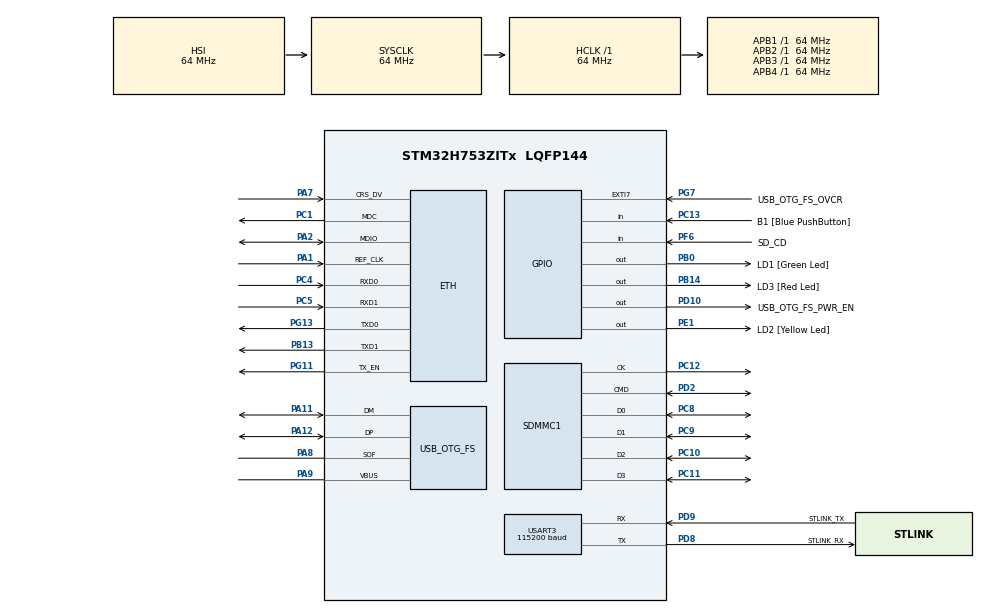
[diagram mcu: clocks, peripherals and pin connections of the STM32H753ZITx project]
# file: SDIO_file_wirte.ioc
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CORTEX_M7.CPU_DCache=Disabled
CORTEX_M7.CPU_ICache=Disabled
CORTEX_M7.MPU_Control=__NULL
ETH.ETH_RX_DESC_CNT=4
ETH.ETH_TX_DESC_CNT=4
ETH.MACAddr=00\:80\:E1\:00\:00\:00
ETH.MediaInterface=HAL_ETH_RMII_MODE
ETH.RxBuffAddress=0x30040200
ETH.RxBuffLen=1524
ETH.RxDescAddress=0x30040000
ETH.TxDescAddress=0x30040060
FATFS.BSP.number=1
FATFS.USE_DMA_CODE_SD=0
FATFS0.BSP.STBoard=false
FATFS0.BSP.api=Unknown
FATFS0.BSP.instance=PF6
FATFS0.BSP.ip=GPIO
FATFS0.BSP.mode=Input
FATFS0.BSP.name=Detect_SDIO
FATFS0.BSP.solution=PF6
Mcu.Family=STM32H7
Mcu.Name=STM32H753ZITx
Mcu.Package=LQFP144
NVIC.PriorityGroup=NVIC_PRIORITYGROUP_4
PA1.Mode=RMII
PA1.Signal=ETH_REF_CLK
PA11.Mode=Device_Only
PA11.Signal=USB_OTG_FS_DM
PA12.Mode=Device_Only
PA12.Signal=USB_OTG_FS_DP
PA2.Mode=RMII
PA2.Signal=ETH_MDIO
PA7.Mode=RMII
PA7.Signal=ETH_CRS_DV
PA8.Mode=Activate_SOF_FS
PA8.Signal=USB_OTG_FS_SOF
PA9.Mode=Activate_VBUS
PA9.Signal=USB_OTG_FS_VBUS
PB0.GPIO_Label=LD1 [Green Led]
PB0.Signal=GPIO_Output
PB13.Mode=RMII
PB13.Signal=ETH_TXD1
PB14.GPIO_Label=LD3 [Red Led]
PB14.Signal=GPIO_Output
PC1.Mode=RMII
PC1.Signal=ETH_MDC
PC10.Mode=SD_4_bits_Wide_bus
PC10.Signal=SDMMC1_D2
PC11.Mode=SD_4_bits_Wide_bus
PC11.Signal=SDMMC1_D3
PC12.Mode=SD_4_bits_Wide_bus
PC12.Signal=SDMMC1_CK
PC13.GPIO_Label=B1 [Blue PushButton]
PC13.Signal=GPIO_Input
PC14-OSC32_IN\ (OSC32_IN).Mode=LSE-External-Oscillator
PC14-OSC32_IN\ (OSC32_IN).Signal=RCC_OSC32_IN
PC15-OSC32_OUT\ (OSC32_OUT).Mode=LSE-External-Oscillator
PC15-OSC32_OUT\ (OSC32_OUT).Signal=RCC_OSC32_OUT
PC4.Mode=RMII
PC4.Signal=ETH_RXD0
PC5.Mode=RMII
PC5.Signal=ETH_RXD1
PC8.Mode=SD_4_bits_Wide_bus
PC8.Signal=SDMMC1_D0
PC9.Mode=SD_4_bits_Wide_bus
PC9.Signal=SDMMC1_D1
PD10.GPIO_Label=USB_OTG_FS_PWR_EN
PD10.Signal=GPIO_Output
PD2.Mode=SD_4_bits_Wide_bus
PD2.Signal=SDMMC1_CMD
PD8.GPIO_Label=STLINK_RX
PD8.Mode=Asynchronous
PD8.Signal=USART3_TX
PD9.GPIO_Label=STLINK_TX
PD9.Mode=Asynchronous
PD9.Signal=USART3_RX
PE1.GPIO_Label=LD2 [Yellow Led]
PE1.Signal=GPIO_Output
PF6.GPIO_Label=SD_CD
PF6.Signal=GPIO_Input
PG11.Mode=RMII
PG11.Signal=ETH_TX_EN
PG13.Mode=RMII
PG13.Signal=ETH_TXD0
PG7.GPIO_Label=USB_OTG_FS_OVCR
PG7.Signal=GPXTI7
PH0-OSC_IN\ (PH0).Mode=HSE-External-Clock-Source
PH0-OSC_IN\ (PH0).Signal=RCC_OSC_IN
PH1-OSC_OUT\ (PH1).Signal=RCC_OSC_OUT
ProjectManager.HeapSize=0x200
ProjectManager.StackSize=0x400
ProjectManager.TargetToolchain=STM32CubeIDE
RCC.ADCFreq_Value=16125000
RCC.APB1Freq_Value=64000000
RCC.APB2Freq_Value=64000000
RCC.APB3Freq_Value=64000000
RCC.APB4Freq_Value=64000000
RCC.CortexFreq_Value=64000000
RCC.DIVM1=1
RCC.DIVN1=24
RCC.DIVQ1=4
RCC.HCLKFreq_Value=64000000
RCC.HSE_VALUE=8000000
RCC.PLLFRACN=0
RCC.PWR_Regulator_Voltage_Scale=PWR_REGULATOR_VOLTAGE_SCALE2
RCC.SYSCLKFreq_VALUE=64000000
RCC.USBFreq_Value=48000000
USART3.AutoBaudRateEnableParam=UART_ADVFEATURE_AUTOBAUDRATE_DISABLE
USART3.BaudRate=115200
USART3.ClockPrescaler=PRESCALER_DIV1
USART3.DMADisableonRxErrorParam=ADVFEATURE_DMA_ENABLEONRXERROR
USART3.DataInvertParam=ADVFEATURE_DATAINV_DISABLE
USART3.FIFOMode=FIFOMODE_DISABLE
USART3.MSBFirstParam=ADVFEATURE_MSBFIRST_DISABLE
USART3.Mode=MODE_TX_RX
USART3.OneBitSampling=UART_ONE_BIT_SAMPLE_DISABLE
USART3.OverSampling=UART_OVERSAMPLING_16
USART3.OverrunDisableParam=ADVFEATURE_OVERRUN_ENABLE
USART3.Parity=PARITY_NONE
USART3.RXFIFOThreshold=RXFIFO_THRESHOLD_1EIGHTHFULL
USART3.RxPinLevelInvertParam=ADVFEATURE_RXINV_DISABLE
USART3.StopBits=STOPBITS_1
USART3.SwapParam=ADVFEATURE_SWAP_DISABLE
USART3.TXFIFOThreshold=TXFIFO_THRESHOLD_1EIGHTHFULL
USART3.TxPinLevelInvertParam=ADVFEATURE_TXINV_DISABLE
USART3.VirtualMode-Asynchronous=VM_ASYNC
USART3.WordLength=WORDLENGTH_8B
USB_OTG_FS.Sof_enable=ENABLE
USB_OTG_FS.VirtualMode=Device_Only
USB_OTG_FS.battery_charging_enable=ENABLE
USB_OTG_FS.low_power_enable=DISABLE
USB_OTG_FS.lpm_enable=DISABLE
USB_OTG_FS.use_dedicated_ep1=DISABLE
USB_OTG_FS.vbus_sensing_enable=ENABLE
VP_FATFS_VS_SDIO.Mode=SDIO
VP_MEMORYMAP_VS_MEMORYMAP.Mode=CurAppReg
board=NUCLEO-H753ZI

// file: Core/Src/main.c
/* USER CODE BEGIN Header */
/**
 ******************************************************************************
 * @file           : main.c
 * @brief          : Main program body
 ******************************************************************************
 * @attention
 *
 * Copyright (c) 2024 STMicroelectronics.
 * All rights reserved.
 *
 * This software is licensed under terms that can be found in the LICENSE file
 * in the root directory of this software component.
 * If no LICENSE file comes with this software, it is provided AS-IS.
 *
 ******************************************************************************
 */
/* USER CODE END Header */
#include "main.h"
#include "string.h"
#include "fatfs.h"

#if defined ( __ICCARM__ ) /*!< IAR Compiler */
#pragma location=0x30040000
ETH_DMADescTypeDef  DMARxDscrTab[ETH_RX_DESC_CNT]; /* Ethernet Rx DMA Descriptors */
#pragma location=0x30040060
ETH_DMADescTypeDef  DMATxDscrTab[ETH_TX_DESC_CNT]; /* Ethernet Tx DMA Descriptors */

#elif defined ( __CC_ARM )  /* MDK ARM Compiler */

__attribute__((at(0x30040000))) ETH_DMADescTypeDef  DMARxDscrTab[ETH_RX_DESC_CNT]; /* Ethernet Rx DMA Descriptors */
__attribute__((at(0x30040060))) ETH_DMADescTypeDef  DMATxDscrTab[ETH_TX_DESC_CNT]; /* Ethernet Tx DMA Descriptors */

#elif defined ( __GNUC__ ) /* GNU Compiler */

ETH_DMADescTypeDef DMARxDscrTab[ETH_RX_DESC_CNT] __attribute__((section(".RxDecripSection"))); /* Ethernet Rx DMA Descriptors */
ETH_DMADescTypeDef DMATxDscrTab[ETH_TX_DESC_CNT] __attribute__((section(".TxDecripSection"))); /* Ethernet Tx DMA Descriptors */
#endif

ETH_TxPacketConfig TxConfig;

ETH_HandleTypeDef heth;

SD_HandleTypeDef hsd1;

UART_HandleTypeDef huart3;

PCD_HandleTypeDef hpcd_USB_OTG_FS;

void SystemClock_Config(void);
static void MX_GPIO_Init(void);
static void MX_ETH_Init(void);
static void MX_SDMMC1_SD_Init(void);
static void MX_USART3_UART_Init(void);
static void MX_USB_OTG_FS_PCD_Init(void);
/* USER CODE BEGIN PFP */
static void write_test(void);
/* USER CODE END PFP */

int main(void) {

	/* MCU Configuration--------------------------------------------------------*/

	/* Reset of all peripherals, Initializes the Flash interface and the Systick. */
	HAL_Init();

	/* Configure the system clock */
	SystemClock_Config();

	/* Initialize all configured peripherals */
	MX_GPIO_Init();
	MX_ETH_Init();
	MX_SDMMC1_SD_Init();
	MX_USART3_UART_Init();
	MX_USB_OTG_FS_PCD_Init();
	MX_FATFS_Init();
	/* USER CODE BEGIN 2 */
	write_test();
	/* USER CODE END 2 */

	/* Infinite loop */
	while (1) {

	}
}

void SystemClock_Config(void) {
	RCC_OscInitTypeDef RCC_OscInitStruct = { 0 };
	RCC_ClkInitTypeDef RCC_ClkInitStruct = { 0 };

	/** Supply configuration update enable
	 */
	HAL_PWREx_ConfigSupply(PWR_LDO_SUPPLY);

	/** Configure the main internal regulator output voltage
	 */
	__HAL_PWR_VOLTAGESCALING_CONFIG(PWR_REGULATOR_VOLTAGE_SCALE2);

	while (!__HAL_PWR_GET_FLAG(PWR_FLAG_VOSRDY)) {
	}

	/** Initializes the RCC Oscillators according to the specified parameters
	 * in the RCC_OscInitTypeDef structure.
	 */
	RCC_OscInitStruct.OscillatorType = RCC_OSCILLATORTYPE_HSI
			| RCC_OSCILLATORTYPE_HSE;
	RCC_OscInitStruct.HSEState = RCC_HSE_BYPASS;
	RCC_OscInitStruct.HSIState = RCC_HSI_DIV1;
	RCC_OscInitStruct.HSICalibrationValue = RCC_HSICALIBRATION_DEFAULT;
	RCC_OscInitStruct.PLL.PLLState = RCC_PLL_ON;
	RCC_OscInitStruct.PLL.PLLSource = RCC_PLLSOURCE_HSE;
	RCC_OscInitStruct.PLL.PLLM = 1;
	RCC_OscInitStruct.PLL.PLLN = 24;
	RCC_OscInitStruct.PLL.PLLP = 2;
	RCC_OscInitStruct.PLL.PLLQ = 4;
	RCC_OscInitStruct.PLL.PLLR = 2;
	RCC_OscInitStruct.PLL.PLLRGE = RCC_PLL1VCIRANGE_3;
	RCC_OscInitStruct.PLL.PLLVCOSEL = RCC_PLL1VCOWIDE;
	RCC_OscInitStruct.PLL.PLLFRACN = 0;
	if (HAL_RCC_OscConfig(&RCC_OscInitStruct) != HAL_OK) {
		Error_Handler();
	}

	/** Initializes the CPU, AHB and APB buses clocks
	 */
	RCC_ClkInitStruct.ClockType = RCC_CLOCKTYPE_HCLK | RCC_CLOCKTYPE_SYSCLK
			| RCC_CLOCKTYPE_PCLK1 | RCC_CLOCKTYPE_PCLK2 | RCC_CLOCKTYPE_D3PCLK1
			| RCC_CLOCKTYPE_D1PCLK1;
	RCC_ClkInitStruct.SYSCLKSource = RCC_SYSCLKSOURCE_HSI;
	RCC_ClkInitStruct.SYSCLKDivider = RCC_SYSCLK_DIV1;
	RCC_ClkInitStruct.AHBCLKDivider = RCC_HCLK_DIV1;
	RCC_ClkInitStruct.APB3CLKDivider = RCC_APB3_DIV1;
	RCC_ClkInitStruct.APB1CLKDivider = RCC_APB1_DIV1;
	RCC_ClkInitStruct.APB2CLKDivider = RCC_APB2_DIV1;
	RCC_ClkInitStruct.APB4CLKDivider = RCC_APB4_DIV1;

	if (HAL_RCC_ClockConfig(&RCC_ClkInitStruct, FLASH_LATENCY_1) != HAL_OK) {
		Error_Handler();
	}
}

static void MX_ETH_Init(void) {

	static uint8_t MACAddr[6];

	heth.Instance = ETH;
	MACAddr[0] = 0x00;
	MACAddr[1] = 0x80;
	MACAddr[2] = 0xE1;
	MACAddr[3] = 0x00;
	MACAddr[4] = 0x00;
	MACAddr[5] = 0x00;
	heth.Init.MACAddr = &MACAddr[0];
	heth.Init.MediaInterface = HAL_ETH_RMII_MODE;
	heth.Init.TxDesc = DMATxDscrTab;
	heth.Init.RxDesc = DMARxDscrTab;
	heth.Init.RxBuffLen = 1524;

	if (HAL_ETH_Init(&heth) != HAL_OK) {
		Error_Handler();
	}

	memset(&TxConfig, 0, sizeof(ETH_TxPacketConfig));
	TxConfig.Attributes = ETH_TX_PACKETS_FEATURES_CSUM
			| ETH_TX_PACKETS_FEATURES_CRCPAD;
	TxConfig.ChecksumCtrl = ETH_CHECKSUM_IPHDR_PAYLOAD_INSERT_PHDR_CALC;
	TxConfig.CRCPadCtrl = ETH_CRC_PAD_INSERT;

}

static void MX_SDMMC1_SD_Init(void) {

	hsd1.Instance = SDMMC1;
	hsd1.Init.ClockEdge = SDMMC_CLOCK_EDGE_RISING;
	hsd1.Init.ClockPowerSave = SDMMC_CLOCK_POWER_SAVE_DISABLE;
	hsd1.Init.BusWide = SDMMC_BUS_WIDE_4B;
	hsd1.Init.HardwareFlowControl = SDMMC_HARDWARE_FLOW_CONTROL_DISABLE;
	hsd1.Init.ClockDiv = 0;

}

static void MX_USART3_UART_Init(void) {

	huart3.Instance = USART3;
	huart3.Init.BaudRate = 115200;
	huart3.Init.WordLength = UART_WORDLENGTH_8B;
	huart3.Init.StopBits = UART_STOPBITS_1;
	huart3.Init.Parity = UART_PARITY_NONE;
	huart3.Init.Mode = UART_MODE_TX_RX;
	huart3.Init.HwFlowCtl = UART_HWCONTROL_NONE;
	huart3.Init.OverSampling = UART_OVERSAMPLING_16;
	huart3.Init.OneBitSampling = UART_ONE_BIT_SAMPLE_DISABLE;
	huart3.Init.ClockPrescaler = UART_PRESCALER_DIV1;
	huart3.AdvancedInit.AdvFeatureInit = UART_ADVFEATURE_NO_INIT;
	if (HAL_UART_Init(&huart3) != HAL_OK) {
		Error_Handler();
	}
	if (HAL_UARTEx_SetTxFifoThreshold(&huart3, UART_TXFIFO_THRESHOLD_1_8)
			!= HAL_OK) {
		Error_Handler();
	}
	if (HAL_UARTEx_SetRxFifoThreshold(&huart3, UART_RXFIFO_THRESHOLD_1_8)
			!= HAL_OK) {
		Error_Handler();
	}
	if (HAL_UARTEx_DisableFifoMode(&huart3) != HAL_OK) {
		Error_Handler();
	}

}

static void MX_USB_OTG_FS_PCD_Init(void) {

	hpcd_USB_OTG_FS.Instance = USB_OTG_FS;
	hpcd_USB_OTG_FS.Init.dev_endpoints = 9;
	hpcd_USB_OTG_FS.Init.speed = PCD_SPEED_FULL;
	hpcd_USB_OTG_FS.Init.dma_enable = DISABLE;
	hpcd_USB_OTG_FS.Init.phy_itface = PCD_PHY_EMBEDDED;
	hpcd_USB_OTG_FS.Init.Sof_enable = ENABLE;
	hpcd_USB_OTG_FS.Init.low_power_enable = DISABLE;
	hpcd_USB_OTG_FS.Init.lpm_enable = DISABLE;
	hpcd_USB_OTG_FS.Init.battery_charging_enable = ENABLE;
	hpcd_USB_OTG_FS.Init.vbus_sensing_enable = ENABLE;
	hpcd_USB_OTG_FS.Init.use_dedicated_ep1 = DISABLE;
	if (HAL_PCD_Init(&hpcd_USB_OTG_FS) != HAL_OK) {
		Error_Handler();
	}

}

static void MX_GPIO_Init(void) {
	GPIO_InitTypeDef GPIO_InitStruct = { 0 };

	/* GPIO Ports Clock Enable */
	__HAL_RCC_GPIOC_CLK_ENABLE();
	__HAL_RCC_GPIOF_CLK_ENABLE();
	__HAL_RCC_GPIOH_CLK_ENABLE();
	__HAL_RCC_GPIOA_CLK_ENABLE();
	__HAL_RCC_GPIOB_CLK_ENABLE();
	__HAL_RCC_GPIOD_CLK_ENABLE();
	__HAL_RCC_GPIOG_CLK_ENABLE();
	__HAL_RCC_GPIOE_CLK_ENABLE();

	/*Configure GPIO pin Output Level */
	HAL_GPIO_WritePin(GPIOB, LD1_Pin | LD3_Pin, GPIO_PIN_RESET);

	/*Configure GPIO pin Output Level */
	HAL_GPIO_WritePin(USB_OTG_FS_PWR_EN_GPIO_Port, USB_OTG_FS_PWR_EN_Pin,
			GPIO_PIN_RESET);

	/*Configure GPIO pin Output Level */
	HAL_GPIO_WritePin(LD2_GPIO_Port, LD2_Pin, GPIO_PIN_RESET);

	/*Configure GPIO pin : B1_Pin */
	GPIO_InitStruct.Pin = B1_Pin;
	GPIO_InitStruct.Mode = GPIO_MODE_INPUT;
	GPIO_InitStruct.Pull = GPIO_NOPULL;
	HAL_GPIO_Init(B1_GPIO_Port, &GPIO_InitStruct);

	/*Configure GPIO pin : SD_CD_Pin */
	GPIO_InitStruct.Pin = SD_CD_Pin;
	GPIO_InitStruct.Mode = GPIO_MODE_INPUT;
	GPIO_InitStruct.Pull = GPIO_NOPULL;
	HAL_GPIO_Init(SD_CD_GPIO_Port, &GPIO_InitStruct);

	/*Configure GPIO pins : LD1_Pin LD3_Pin */
	GPIO_InitStruct.Pin = LD1_Pin | LD3_Pin;
	GPIO_InitStruct.Mode = GPIO_MODE_OUTPUT_PP;
	GPIO_InitStruct.Pull = GPIO_NOPULL;
	GPIO_InitStruct.Speed = GPIO_SPEED_FREQ_LOW;
	HAL_GPIO_Init(GPIOB, &GPIO_InitStruct);

	/*Configure GPIO pin : USB_OTG_FS_PWR_EN_Pin */
	GPIO_InitStruct.Pin = USB_OTG_FS_PWR_EN_Pin;
	GPIO_InitStruct.Mode = GPIO_MODE_OUTPUT_PP;
	GPIO_InitStruct.Pull = GPIO_NOPULL;
	GPIO_InitStruct.Speed = GPIO_SPEED_FREQ_LOW;
	HAL_GPIO_Init(USB_OTG_FS_PWR_EN_GPIO_Port, &GPIO_InitStruct);

	/*Configure GPIO pin : USB_OTG_FS_OVCR_Pin */
	GPIO_InitStruct.Pin = USB_OTG_FS_OVCR_Pin;
	GPIO_InitStruct.Mode = GPIO_MODE_IT_RISING;
	GPIO_InitStruct.Pull = GPIO_NOPULL;
	HAL_GPIO_Init(USB_OTG_FS_OVCR_GPIO_Port, &GPIO_InitStruct);

	/*Configure GPIO pin : LD2_Pin */
	GPIO_InitStruct.Pin = LD2_Pin;
	GPIO_InitStruct.Mode = GPIO_MODE_OUTPUT_PP;
	GPIO_InitStruct.Pull = GPIO_NOPULL;
	GPIO_InitStruct.Speed = GPIO_SPEED_FREQ_LOW;
	HAL_GPIO_Init(LD2_GPIO_Port, &GPIO_InitStruct);

}

/* USER CODE BEGIN 4 */
static void write_test(void) {
	uint8_t wtext[] = { "hello world." };
	UINT byteswritten;
	if (f_mount(&SDFatFS, (TCHAR const*) SDPath, 0) != FR_OK) {
		Error_Handler();
	}
	//Open file for writing (Create)
	if (f_open(&SDFile, "EXAMPLE.txt", FA_CREATE_ALWAYS | FA_WRITE) != FR_OK) {
		Error_Handler();
	} else {

		//Write to the text file
		FRESULT res = f_write(&SDFile, wtext, strlen((char*) wtext),
				(void*) &byteswritten);
		if ((byteswritten == 0) || (res != FR_OK)) {
			Error_Handler();
		} else {
			f_close(&SDFile);
		}
	}
	f_mount(&SDFatFS, (TCHAR const*) NULL, 0);
}
/* USER CODE END 4 */

void Error_Handler(void) {
	__disable_irq();
	while (1) {
	}
}
